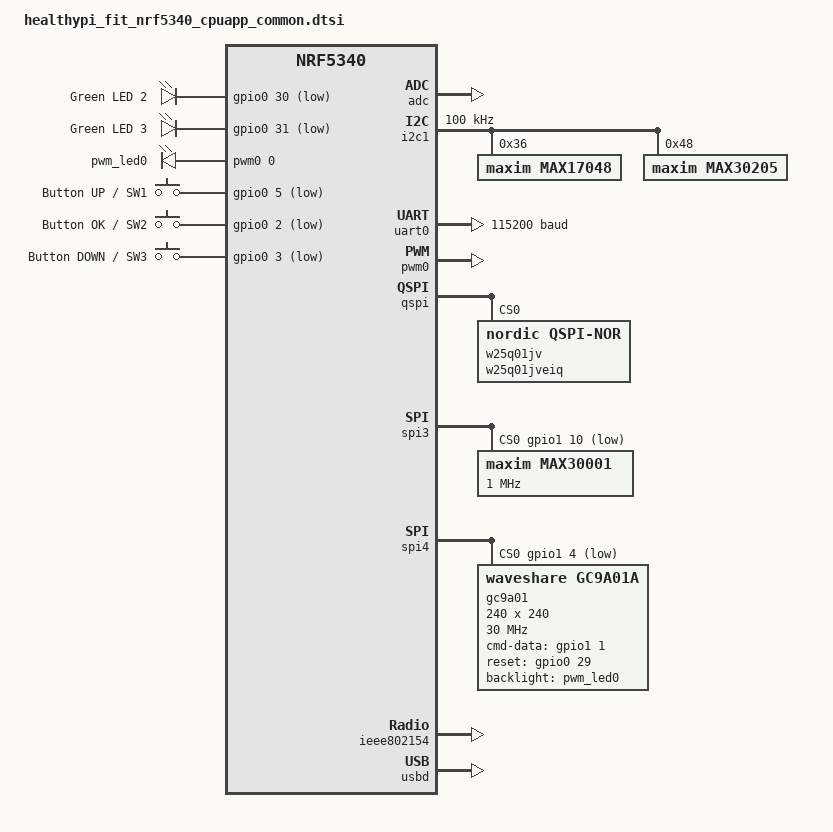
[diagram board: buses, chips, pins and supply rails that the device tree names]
/*
 * Copyright (c) 2019-2020 Nordic Semiconductor ASA
 *
 * SPDX-License-Identifier: Apache-2.0
 */
#include "healthypi_fit_nrf5340_cpuapp_common-pinctrl.dtsi"

/ {

	chosen {
		zephyr,console = &uart0;
		zephyr,shell-uart = &uart0;
		zephyr,uart-mcumgr = &uart0;
		zephyr,bt-mon-uart = &uart0;
		zephyr,bt-c2h-uart = &uart0;
		zephyr,bt-hci-rpmsg-ipc = &ipc0;
		nordic,802154-spinel-ipc = &ipc0;
		zephyr,ieee802154 = &ieee802154;
		zephyr,display = &gc9a01; //&st7789v;
	};

	leds {
		compatible = "gpio-leds";

		led2: led_2 {
			gpios = <&gpio0 30 GPIO_ACTIVE_LOW>;
			label = "Green LED 2";
		};
		led3: led_3 {
			gpios = <&gpio0 31 GPIO_ACTIVE_LOW>;
			label = "Green LED 3";
		};
	};

	pwmleds {
		compatible = "pwm-leds";
		
		pwm_led0: pwm_led_0 {
			status = "okay";
			
			pwms = <&pwm0 0 PWM_MSEC(20) PWM_POLARITY_NORMAL>;

		};
	};

	buttons {
		compatible = "gpio-keys";
		button_up: sw1 {
			label = "Button UP / SW1";
			gpios = <&gpio0 5 (GPIO_ACTIVE_LOW | GPIO_PULL_UP)>;
		};
		button_ok: sw2 {
			label = "Button OK / SW2";
			gpios = <&gpio0 2 (GPIO_ACTIVE_LOW | GPIO_PULL_UP)>;
		};
		button_down: sw3 {
			label = "Button DOWN / SW3";
			gpios = <&gpio0 3 (GPIO_ACTIVE_LOW | GPIO_PULL_UP)>;
		};


	};

	aliases {
		led2 = &led2;
		led3 = &led3;
		ledblue = &led2;
		ledgreen = &led3;

		pwm-led0 = &pwm_led0;
		//sw0 = &button0;
		//sw1 = &button1;

		keyup = &button_up;
		keydown = &button_down;
		keyok = &button_ok;

		bootloader-led0 = &led2;
		mcuboot-button0 = &button_up;
		mcuboot-led0 = &led2;
		watchdog0 = &wdt0;
		esp-uart= &uart0;

		max30001 = &max30001;
		//max32664 = &max32664;
	};
};

&adc {
	status = "okay";
};

&gpiote {
	status = "okay";
};

&gpio0 {
	status = "okay";
};

&gpio1 {
	status = "okay";
};

&i2c1 {
	compatible = "nordic,nrf-twim";
	status = "okay";
	pinctrl-0 = <&i2c1_default>;
	pinctrl-1 = <&i2c1_sleep>;
	clock-frequency = <I2C_BITRATE_STANDARD>;
	pinctrl-names = "default", "sleep";

	/*max32664: max32664@55 {
		compatible = "maxim,max32664";
		reg = <0x55>;
		reset-gpios = <&gpio1 6 GPIO_ACTIVE_LOW>;
		mfio-gpios = <&gpio1 7 GPIO_ACTIVE_LOW>;
		status = "okay";
	};*/

	max17048: max17048@36 {
		compatible = "maxim,max17048";
		status = "okay";
		reg = <0x36>;
	};

	max30205:max30205@48 {
		compatible = "maxim,max30205";
		status = "okay";
		reg = <0x48>;
	};

	/*
	lsm6dso@6a {
		compatible = "st,lsm6dso";
		reg = <0x6a>;
		status = "okay";
		irq-gpios = <&gpio1 11 GPIO_ACTIVE_LOW>;
	};
	*/

};

&uart0 {
	status = "okay";
	current-speed = <115200>;
	pinctrl-0 = <&uart0_default>;
	pinctrl-1 = <&uart0_sleep>;
	pinctrl-names = "default", "sleep";
};

&pwm0 {
	status = "okay";
	pinctrl-0 = <&pwm0_default>;
	pinctrl-1 = <&pwm0_sleep>;
	pinctrl-names = "default", "sleep";
};


&qspi {
	status = "okay";
	pinctrl-0 = <&qspi_default>;
	pinctrl-1 = <&qspi_sleep>;
	pinctrl-names = "default", "sleep";

	w25q01jv: w25q01jveiq@0 {
		compatible = "nordic,qspi-nor";
		reg = <0>;
		//writeoc = "pp2o";
		//readoc = "read2o";
		//quad-enable-requirements = "S2B1v5";
		sck-frequency = <128000000>;
		size = <DT_SIZE_M(128)>;
		has-dpd;
		t-enter-dpd = <3000>;
		t-exit-dpd = <30000>;
		jedec-id = [ ef 40 18  ];
	};


};


/*&uart1 {
	compatible = "nordic,nrf-uarte";
	current-speed = <115200>;
	pinctrl-0 = <&uart1_default>;
	pinctrl-1 = <&uart1_sleep>;
	pinctrl-names = "default", "sleep";
};
 */

&spi3 {
	compatible = "nordic,nrf-spim";
	status = "okay";

	pinctrl-0 = <&spi3_default>;
	pinctrl-1 = <&spi3_sleep>;
	pinctrl-names = "default", "sleep";
	cs-gpios = <&gpio1 10 GPIO_ACTIVE_LOW>;

	max30001: max30001@0 {
		compatible = "maxim,max30001";
		reg = <0x0>;
		spi-max-frequency = <DT_FREQ_M(1)>;
		status = "okay";
	};
};

&spi4 {
	compatible = "nordic,nrf-spim";
	status = "okay";
	cs-gpios = <&gpio1 4 GPIO_ACTIVE_LOW>;
	pinctrl-0 = <&spi4_default>;
	pinctrl-1 = <&spi4_sleep>;
	pinctrl-names = "default", "sleep";

	gc9a01: gc9a01@0 {
		compatible = "waveshare,gc9a01a";
		spi-max-frequency = <30000000>;
		reg = <0>;
		cmd-data-gpios = <&gpio1 1 GPIO_ACTIVE_HIGH>; 
		reset-gpios = <&gpio0 29 GPIO_ACTIVE_HIGH>;
		backlight-gpios = <&pwm_led0>;
		width = <240>;
		height = <240>;
		pixel-format = <0>;//<GC9A01A_PIXEL_FORMAT_RGB565>;
		display-inversion;
		rotation = <0>;
		status = "okay";
	};

	/*gc9a01: gc9a01@0 {
		compatible = "buydisplay,gc9a01";
		status = "okay";
		spi-max-frequency = <30000000>;
		reg = <0>;
		width = <240>;
		height = <240>;
		bl-gpios = <&gpio1 5 GPIO_ACTIVE_HIGH>;
		reset-gpios = <&gpio0 29 GPIO_ACTIVE_HIGH>;
		dc-gpios = <&gpio1 1 GPIO_ACTIVE_HIGH>;
	};*/
};

&flash0 {

	partitions {
		compatible = "fixed-partitions";
		#address-cells = <1>;
		#size-cells = <1>;

		boot_partition: partition@0 {
			label = "mcuboot";
			reg = <0x00000000 0x00010000>;
		};
		slot0_partition: partition@10000 {
			label = "image-0";
		};
		slot0_ns_partition: partition@50000 {
			label = "image-0-nonsecure";
		};
		slot1_partition: partition@80000 {
			label = "image-1";
		};
		slot1_ns_partition: partition@c0000 {
			label = "image-1-nonsecure";
		};
		/* 0xf0000 to 0xf7fff reserved for TF-M partitions */
		storage_partition: partition@f8000 {
			label = "storage";
			reg = <0x000f8000 0x00008000>;
		};
	};
};

&ieee802154 {
	status = "okay";
};

zephyr_udc0: &usbd {
	compatible = "nordic,nrf-usbd";
	status = "okay";
};

/ {

	reserved-memory {
		#address-cells = <1>;
		#size-cells = <1>;
		ranges;

		sram0_image: image@20000000 {
			/* Zephyr image(s) memory */
		};

		sram0_s: image_s@20000000 {
			/* Secure image memory */
		};

		sram0_ns: image_ns@20040000 {
			/* Non-Secure image memory */
		};
	};
};

/* Include partition configuration file */
#include "healthypi_fit_nrf5340_cpuapp_partition_conf.dtsi"
